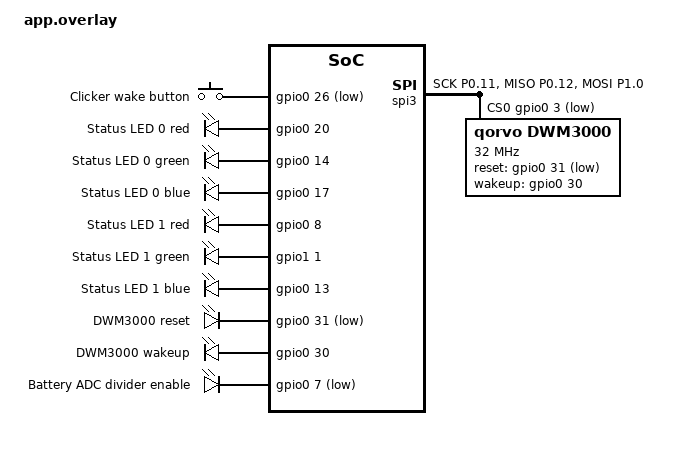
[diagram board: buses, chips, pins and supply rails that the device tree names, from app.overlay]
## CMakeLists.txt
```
cmake_minimum_required(VERSION 3.20.0)

set(IMEC_APP_DIR "${CMAKE_CURRENT_LIST_DIR}/../app")
list(APPEND DTS_ROOT "${IMEC_APP_DIR}")

set(POWER_PROFILE_MODE "clicker_sleep" CACHE STRING
    "Power profile mode: clicker_sleep, clicker_systemoff, clicker_systemoff_nowake, anchor_sleep, anchor_low_duty, clicker_click, or responder")
set_property(CACHE POWER_PROFILE_MODE PROPERTY STRINGS
    clicker_sleep clicker_systemoff clicker_systemoff_nowake anchor_sleep anchor_low_duty clicker_click responder)

set(POWER_PROFILE_CLICKER_ID "0x1111222233334444ull" CACHE STRING "Power profile clicker ID")
set(POWER_PROFILE_RESPONDER0_ID "0x5555666677778888ull" CACHE STRING "Power profile responder/anchor 0 ID")
set(POWER_PROFILE_RESPONDER1_ID "0x5555666677778889ull" CACHE STRING "Power profile responder/anchor 1 ID")
set(POWER_PROFILE_RESPONDER2_ID "0x555566667777888Aull" CACHE STRING "Power profile responder/anchor 2 ID")
set(POWER_PROFILE_RESPONDER3_ID "0x555566667777888Bull" CACHE STRING "Power profile responder/anchor 3 ID")
set(POWER_PROFILE_TARGET_COUNT "1u" CACHE STRING "Number of responder IDs to range during a click burst, 1..4")
set(POWER_PROFILE_NETWORK_ID "0x1A2B3C4Du" CACHE STRING "Power profile UWB network ID")
set(POWER_PROFILE_SESSION_ID "0x0000A11Eu" CACHE STRING "Power profile UWB session ID")
set(POWER_PROFILE_SESSION_NONCE "0x1020304050607080ull" CACHE STRING "Power profile UWB session nonce")
set(POWER_PROFILE_BOOT_SETTLE_MS "5000u" CACHE STRING "Quiet boot-settle time before measurement starts")
set(POWER_PROFILE_CLICK_PERIOD_MS "10000u" CACHE STRING "Period between click bursts")
set(POWER_PROFILE_CLICK_RX_TIMEOUT_MS "80u" CACHE STRING "Software timeout for clicker DS-TWR attempts")
set(POWER_PROFILE_CLICK_RX_TIMEOUT_UUS "60000u" CACHE STRING "Hardware RX timeout for clicker DS-TWR attempts")
set(POWER_PROFILE_INTER_TARGET_GAP_MS "0u" CACHE STRING "Delay between responders inside a click burst")
set(POWER_PROFILE_ANCHOR_SCAN_INTERVAL_MS "1000u" CACHE STRING "Low-duty anchor scan period")
set(POWER_PROFILE_ANCHOR_RX_WINDOW_MS "40u" CACHE STRING "Low-duty anchor UWB RX window")
set(POWER_PROFILE_RESPONDER_RX_WINDOW_MS "250u" CACHE STRING "Responder listen slice")
set(POWER_PROFILE_REPLY_DELAY_UUS "2750u" CACHE STRING "DS-TWR responder reply delay in UWB microseconds")
set(POWER_PROFILE_REPLY_TOLERANCE_US "2000u" CACHE STRING "DS-TWR reply timing tolerance")
set(POWER_PROFILE_LED_MARKERS "0" CACHE STRING "Set to 1 to mark active windows with LEDs; adds LED current")
set(POWER_PROFILE_DEBUG_RTT "0" CACHE STRING "Emit RTT/printk debug output from the power profile app")
set(POWER_PROFILE_CAPTURE_RSL "1" CACHE STRING "Capture RSL/CIR during click range attempts")
set(POWER_PROFILE_CLICKER_DIAG "1" CACHE STRING "Include clicker diagnostic frame in DS-TWR")
set(POWER_PROFILE_PHY_CHANNEL "5" CACHE STRING "DW3000 channel")
set(POWER_PROFILE_PHY_PREAMBLE_LENGTH "DWT_PLEN_4096" CACHE STRING "DW3000 preamble length")
set(POWER_PROFILE_PHY_RX_PAC "DWT_PAC32" CACHE STRING "DW3000 RX PAC")
set(POWER_PROFILE_PHY_TX_CODE "9" CACHE STRING "DW3000 TX preamble code")
set(POWER_PROFILE_PHY_RX_CODE "9" CACHE STRING "DW3000 RX preamble code")
set(POWER_PROFILE_PHY_SFD_TYPE "DWT_SFD_DW_8" CACHE STRING "DW3000 SFD type")
set(POWER_PROFILE_PHY_DATA_RATE "DWT_BR_850K" CACHE STRING "DW3000 data rate")
set(POWER_PROFILE_PHY_SFD_TIMEOUT "4073" CACHE STRING "DW3000 SFD timeout")
set(POWER_PROFILE_TX_PG_DELAY "0x34" CACHE STRING "DW3000 TX pulse generator delay")
set(POWER_PROFILE_TX_POWER "0xffffffffu" CACHE STRING "DW3000 TX power register")
set(POWER_PROFILE_TX_ANT_DLY "16385u" CACHE STRING "DW3000 TX antenna delay")
set(POWER_PROFILE_RX_ANT_DLY "16385u" CACHE STRING "DW3000 RX antenna delay")

if(POWER_PROFILE_MODE STREQUAL "clicker_sleep")
    set(POWER_PROFILE_DEVICE_ID "${POWER_PROFILE_CLICKER_ID}")
    set(POWER_PROFILE_DEVICE_ROLE "1")
    set(POWER_PROFILE_MODE_DEFINE "POWER_PROFILE_MODE_CLICKER_SLEEP=1")
elseif(POWER_PROFILE_MODE STREQUAL "clicker_systemoff")
    set(POWER_PROFILE_DEVICE_ID "${POWER_PROFILE_CLICKER_ID}")
    set(POWER_PROFILE_DEVICE_ROLE "1")
    set(POWER_PROFILE_MODE_DEFINE "POWER_PROFILE_MODE_CLICKER_SYSTEMOFF=1")
elseif(POWER_PROFILE_MODE STREQUAL "clicker_systemoff_nowake")
    set(POWER_PROFILE_DEVICE_ID "${POWER_PROFILE_CLICKER_ID}")
    set(POWER_PROFILE_DEVICE_ROLE "1")
    set(POWER_PROFILE_MODE_DEFINE "POWER_PROFILE_MODE_CLICKER_SYSTEMOFF_NOWAKE=1")
elseif(POWER_PROFILE_MODE STREQUAL "anchor_sleep")
    set(POWER_PROFILE_DEVICE_ID "${POWER_PROFILE_RESPONDER0_ID}")
    set(POWER_PROFILE_DEVICE_ROLE "2")
    set(POWER_PROFILE_MODE_DEFINE "POWER_PROFILE_MODE_ANCHOR_SLEEP=1")
elseif(POWER_PROFILE_MODE STREQUAL "anchor_low_duty")
    set(POWER_PROFILE_DEVICE_ID "${POWER_PROFILE_RESPONDER0_ID}")
    set(POWER_PROFILE_DEVICE_ROLE "2")
    set(POWER_PROFILE_MODE_DEFINE "POWER_PROFILE_MODE_ANCHOR_LOW_DUTY=1")
elseif(POWER_PROFILE_MODE STREQUAL "clicker_click")
    set(POWER_PROFILE_DEVICE_ID "${POWER_PROFILE_CLICKER_ID}")
    set(POWER_PROFILE_DEVICE_ROLE "1")
    set(POWER_PROFILE_MODE_DEFINE "POWER_PROFILE_MODE_CLICKER_CLICK=1")
elseif(POWER_PROFILE_MODE STREQUAL "responder")
    set(POWER_PROFILE_DEVICE_ID "${POWER_PROFILE_RESPONDER0_ID}")
    set(POWER_PROFILE_DEVICE_ROLE "2")
    set(POWER_PROFILE_MODE_DEFINE "POWER_PROFILE_MODE_RESPONDER=1")
else()
    message(FATAL_ERROR "Unsupported POWER_PROFILE_MODE=${POWER_PROFILE_MODE}")
endif()

find_package(Zephyr REQUIRED HINTS $ENV{ZEPHYR_BASE})
project(imec_power_profile_test)
include("${CMAKE_CURRENT_LIST_DIR}/../cmake/dwm3000_sdk.cmake")
imec_resolve_dwm3000_sdk(DWM3000_SDK_DIR)

target_sources(app PRIVATE
    src/main.c
    "${IMEC_APP_DIR}/src/dwm3000_driver.c"
    "${IMEC_APP_DIR}/src/dwm3000_port.c"
    "${IMEC_APP_DIR}/src/dwm3000_sdk_port.c"
    "${DWM3000_SDK_DIR}/decadriver/deca_device.c"
    ../src/debug_log.c
    ../src/protocol.c
    ../src/dwm3000_timing.c
    ../src/uwb.c
    ../src/uwb_session.c
)

target_include_directories(app PRIVATE
    ../include
    "${IMEC_APP_DIR}/src"
    "${DWM3000_SDK_DIR}/decadriver"
)

target_compile_definitions(app PRIVATE
    ${POWER_PROFILE_MODE_DEFINE}
    DEVICE_ID=${POWER_PROFILE_DEVICE_ID}
    DEVICE_ROLE=${POWER_PROFILE_DEVICE_ROLE}
    POWER_PROFILE_CLICKER_ID=${POWER_PROFILE_CLICKER_ID}
    POWER_PROFILE_RESPONDER0_ID=${POWER_PROFILE_RESPONDER0_ID}
    POWER_PROFILE_RESPONDER1_ID=${POWER_PROFILE_RESPONDER1_ID}
    POWER_PROFILE_RESPONDER2_ID=${POWER_PROFILE_RESPONDER2_ID}
    POWER_PROFILE_RESPONDER3_ID=${POWER_PROFILE_RESPONDER3_ID}
    POWER_PROFILE_TARGET_COUNT=${POWER_PROFILE_TARGET_COUNT}
    POWER_PROFILE_NETWORK_ID=${POWER_PROFILE_NETWORK_ID}
    POWER_PROFILE_SESSION_ID=${POWER_PROFILE_SESSION_ID}
    POWER_PROFILE_SESSION_NONCE=${POWER_PROFILE_SESSION_NONCE}
    POWER_PROFILE_BOOT_SETTLE_MS=${POWER_PROFILE_BOOT_SETTLE_MS}
    POWER_PROFILE_CLICK_PERIOD_MS=${POWER_PROFILE_CLICK_PERIOD_MS}
    POWER_PROFILE_CLICK_RX_TIMEOUT_MS=${POWER_PROFILE_CLICK_RX_TIMEOUT_MS}
    POWER_PROFILE_CLICK_RX_TIMEOUT_UUS=${POWER_PROFILE_CLICK_RX_TIMEOUT_UUS}
    POWER_PROFILE_INTER_TARGET_GAP_MS=${POWER_PROFILE_INTER_TARGET_GAP_MS}
    POWER_PROFILE_ANCHOR_SCAN_INTERVAL_MS=${POWER_PROFILE_ANCHOR_SCAN_INTERVAL_MS}
    POWER_PROFILE_ANCHOR_RX_WINDOW_MS=${POWER_PROFILE_ANCHOR_RX_WINDOW_MS}
    POWER_PROFILE_RESPONDER_RX_WINDOW_MS=${POWER_PROFILE_RESPONDER_RX_WINDOW_MS}
    POWER_PROFILE_LED_MARKERS=${POWER_PROFILE_LED_MARKERS}
    POWER_PROFILE_DEBUG_RTT=${POWER_PROFILE_DEBUG_RTT}
    POWER_PROFILE_CAPTURE_RSL=${POWER_PROFILE_CAPTURE_RSL}
    DWM3000_DS_TWR_REPLY_DLY_UUS=${POWER_PROFILE_REPLY_DELAY_UUS}
    DWM3000_POLL_TX_TO_RESP_RX_DLY_UUS=0u
    DWM3000_RESP_TX_TO_FINAL_RX_DLY_UUS=0u
    DWM3000_RESP_RX_TIMEOUT_UUS=${POWER_PROFILE_CLICK_RX_TIMEOUT_UUS}
    DWM3000_FINAL_RX_TIMEOUT_UUS=${POWER_PROFILE_CLICK_RX_TIMEOUT_UUS}
    DWM3000_REPORT_RX_TIMEOUT_UUS=${POWER_PROFILE_CLICK_RX_TIMEOUT_UUS}
    DWM3000_RESP_RX_TIMEOUT_MS=${POWER_PROFILE_CLICK_RX_TIMEOUT_MS}
    DWM3000_FINAL_RX_TIMEOUT_MS=${POWER_PROFILE_CLICK_RX_TIMEOUT_MS}
    DWM3000_REPORT_RX_TIMEOUT_MS=${POWER_PROFILE_CLICK_RX_TIMEOUT_MS}
    DWM3000_REPLY_TIMING_TOLERANCE_US=${POWER_PROFILE_REPLY_TOLERANCE_US}
    DWM3000_CLICKER_DIAG_ENABLED=${POWER_PROFILE_CLICKER_DIAG}
    DWM3000_CIA_DIAG_MODE=DW_CIA_DIAG_LOG_ALL
    DWM3000_PHY_CHANNEL=${POWER_PROFILE_PHY_CHANNEL}
    DWM3000_PHY_PREAMBLE_LENGTH=${POWER_PROFILE_PHY_PREAMBLE_LENGTH}
    DWM3000_PHY_RX_PAC=${POWER_PROFILE_PHY_RX_PAC}
    DWM3000_PHY_TX_CODE=${POWER_PROFILE_PHY_TX_CODE}
    DWM3000_PHY_RX_CODE=${POWER_PROFILE_PHY_RX_CODE}
    DWM3000_PHY_SFD_TYPE=${POWER_PROFILE_PHY_SFD_TYPE}
    DWM3000_PHY_DATA_RATE=${POWER_PROFILE_PHY_DATA_RATE}
    DWM3000_PHY_SFD_TIMEOUT=${POWER_PROFILE_PHY_SFD_TIMEOUT}
    DWM3000_TX_PG_DELAY=${POWER_PROFILE_TX_PG_DELAY}
    DWM3000_TX_POWER=${POWER_PROFILE_TX_POWER}
    DWM3000_TX_ANT_DLY=${POWER_PROFILE_TX_ANT_DLY}
    DWM3000_RX_ANT_DLY=${POWER_PROFILE_RX_ANT_DLY}
    IMEC_BUILD_PRESET_NAME="power_profile_${POWER_PROFILE_MODE}"
    IMEC_GIT_VERSION="custom"
    IMEC_BUILD_TIMESTAMP="custom"
    IMEC_BOARD_TARGET="${BOARD}"
)
```

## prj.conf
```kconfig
CONFIG_GPIO=y
CONFIG_SPI=y
CONFIG_ENTROPY_GENERATOR=n

CONFIG_SERIAL=n
CONFIG_CONSOLE=n
CONFIG_UART_CONSOLE=n
CONFIG_USB_DEVICE_STACK=n
CONFIG_LOG=n
CONFIG_BOOT_BANNER=n
CONFIG_THREAD_NAME=n
CONFIG_ASSERT=n
CONFIG_REBOOT=n
CONFIG_POWEROFF=y

CONFIG_MAIN_STACK_SIZE=4096
CONFIG_SYSTEM_WORKQUEUE_STACK_SIZE=1024
```

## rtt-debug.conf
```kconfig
CONFIG_CONSOLE=y
CONFIG_RTT_CONSOLE=y
CONFIG_USE_SEGGER_RTT=y
CONFIG_PRINTK=y

CONFIG_SERIAL=n
CONFIG_UART_CONSOLE=n
CONFIG_USB_DEVICE_STACK=n
CONFIG_LOG=n
CONFIG_BOOT_BANNER=n
CONFIG_THREAD_NAME=n
CONFIG_ASSERT=n
```

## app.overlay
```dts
#include <zephyr/dt-bindings/gpio/gpio.h>
#include <zephyr/dt-bindings/pinctrl/nrf-pinctrl.h>

/ {
    aliases {
        /delete-property/ led0;
        /delete-property/ led1;
        /delete-property/ led2;
        /delete-property/ led3;
        /delete-property/ pwm-led0;
        /delete-property/ sw0;
        /delete-property/ sw1;
        /delete-property/ sw2;
        /delete-property/ sw3;
        /delete-property/ bootloader-led0;
        /delete-property/ mcuboot-button0;
        /delete-property/ mcuboot-led0;

        click-button = &click_button;
        status0-red = &status0_red;
        status0-green = &status0_green;
        status0-blue = &status0_blue;
        status1-red = &status1_red;
        status1-green = &status1_green;
        status1-blue = &status1_blue;
        dwm3000 = &dwm3000;
        dwm3000-reset = &dwm3000_reset;
        dwm3000-wakeup = &dwm3000_wakeup;
        battery-adc-enable = &battery_adc_enable;
    };

    gpio_keys {
        compatible = "gpio-keys";

        click_button: click_button {
            gpios = <&gpio0 26 (GPIO_PULL_UP | GPIO_ACTIVE_LOW)>;
            label = "Clicker wake button";
        };
    };

    status_leds {
        compatible = "gpio-leds";

        status0_red: status0_red {
            gpios = <&gpio0 20 GPIO_ACTIVE_HIGH>;
            label = "Status LED 0 red";
        };

        status0_green: status0_green {
            gpios = <&gpio0 14 GPIO_ACTIVE_HIGH>;
            label = "Status LED 0 green";
        };

        status0_blue: status0_blue {
            gpios = <&gpio0 17 GPIO_ACTIVE_HIGH>;
            label = "Status LED 0 blue";
        };

        status1_red: status1_red {
            gpios = <&gpio0 8 GPIO_ACTIVE_HIGH>;
            label = "Status LED 1 red";
        };

        status1_green: status1_green {
            gpios = <&gpio1 1 GPIO_ACTIVE_HIGH>;
            label = "Status LED 1 green";
        };

        status1_blue: status1_blue {
            gpios = <&gpio0 13 GPIO_ACTIVE_HIGH>;
            label = "Status LED 1 blue";
        };
    };

    dwm3000_control {
        compatible = "gpio-leds";

        dwm3000_reset: dwm3000_reset {
            gpios = <&gpio0 31 GPIO_ACTIVE_LOW>;
            label = "DWM3000 reset";
        };

        dwm3000_wakeup: dwm3000_wakeup {
            gpios = <&gpio0 30 GPIO_ACTIVE_HIGH>;
            label = "DWM3000 wakeup";
        };
    };

    battery_control {
        compatible = "gpio-leds";

        battery_adc_enable: battery_adc_enable {
            gpios = <&gpio0 7 GPIO_ACTIVE_LOW>;
            label = "Battery ADC divider enable";
        };
    };
};

&uart0 {
    status = "disabled";
    /delete-property/ pinctrl-0;
    /delete-property/ pinctrl-1;
    /delete-property/ pinctrl-names;
};

&i2c0 {
    status = "disabled";
    /delete-property/ pinctrl-0;
    /delete-property/ pinctrl-1;
    /delete-property/ pinctrl-names;
};

&i2c1 {
    status = "disabled";
    /delete-property/ pinctrl-0;
    /delete-property/ pinctrl-1;
    /delete-property/ pinctrl-names;
};

&uart1 {
    status = "disabled";
    /delete-property/ pinctrl-0;
    /delete-property/ pinctrl-1;
    /delete-property/ pinctrl-names;
};

&spi0 {
    status = "disabled";
    /delete-property/ pinctrl-0;
    /delete-property/ pinctrl-1;
    /delete-property/ pinctrl-names;
};

&spi1 {
    status = "disabled";
    /delete-property/ pinctrl-0;
    /delete-property/ pinctrl-1;
    /delete-property/ pinctrl-names;
};

&pwm0 {
    status = "disabled";
    /delete-property/ pinctrl-0;
    /delete-property/ pinctrl-1;
    /delete-property/ pinctrl-names;
};

&ieee802154 {
    status = "disabled";
};

&zephyr_udc0 {
    status = "disabled";
};

&adc {
    status = "disabled";
};

&led0 {
    status = "disabled";
};

&led1 {
    status = "disabled";
};

&led2 {
    status = "disabled";
};

&led3 {
    status = "disabled";
};

&pwm_led0 {
    status = "disabled";
};

&button0 {
    status = "disabled";
};

&button1 {
    status = "disabled";
};

&button2 {
    status = "disabled";
};

&button3 {
    status = "disabled";
};

&pinctrl {
    spi3_default: spi3_default {
        group1 {
            psels = <NRF_PSEL(SPIM_SCK, 0, 11)>,
                    <NRF_PSEL(SPIM_MISO, 0, 12)>,
                    <NRF_PSEL(SPIM_MOSI, 1, 0)>;
        };
    };

    spi3_sleep: spi3_sleep {
        group1 {
            psels = <NRF_PSEL(SPIM_SCK, 0, 11)>,
                    <NRF_PSEL(SPIM_MISO, 0, 12)>,
                    <NRF_PSEL(SPIM_MOSI, 1, 0)>;
            low-power-enable;
        };
    };
};

&spi3 {
    compatible = "nordic,nrf-spim";
    status = "okay";
    pinctrl-0 = <&spi3_default>;
    pinctrl-1 = <&spi3_sleep>;
    pinctrl-names = "default", "sleep";
    cs-gpios = <&gpio0 3 GPIO_ACTIVE_LOW>;

    dwm3000: dwm3000@0 {
        compatible = "qorvo,dwm3000";
        reg = <0>;
        spi-max-frequency = <32000000>;
        slow-spi-frequency = <2000000>;
        fast-spi-frequency = <32000000>;
        reset-gpios = <&gpio0 31 GPIO_ACTIVE_LOW>;
        wakeup-gpios = <&gpio0 30 GPIO_ACTIVE_HIGH>;
    };
};
```

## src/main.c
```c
#include "dwm3000_driver.h"
#include "dwm3000_port.h"
#include "uwb.h"
#include "uwb_session.h"

#include <hal/nrf_gpio.h>
#include <hal/nrf_power.h>

#include <zephyr/device.h>
#include <zephyr/devicetree.h>
#include <zephyr/drivers/gpio.h>
#include <zephyr/kernel.h>
#include <zephyr/sys/poweroff.h>
#include <zephyr/sys/printk.h>
#include <zephyr/sys/util.h>

#include <errno.h>
#include <stdbool.h>
#include <stddef.h>
#include <stdint.h>
#include <string.h>

#define STATUS0_RED_NODE DT_ALIAS(status0_red)
#define STATUS0_GREEN_NODE DT_ALIAS(status0_green)
#define STATUS0_BLUE_NODE DT_ALIAS(status0_blue)
#define STATUS1_RED_NODE DT_ALIAS(status1_red)
#define STATUS1_GREEN_NODE DT_ALIAS(status1_green)
#define STATUS1_BLUE_NODE DT_ALIAS(status1_blue)
#define BATTERY_ADC_ENABLE_NODE DT_ALIAS(battery_adc_enable)
#define CLICK_BUTTON_NODE DT_ALIAS(click_button)

#define SPI3_CS_PIN 3u
#define SPI3_SCK_PIN 11u
#define SPI3_MISO_PIN 12u
#define SPI3_MOSI_PIN 0u
#define DWM3000_WAKE_PIN 30u
#define DWM3000_RESET_PIN 31u
#define CLICK_BUTTON_PIN 26u

#ifndef POWER_PROFILE_BOOT_SETTLE_MS
#define POWER_PROFILE_BOOT_SETTLE_MS 5000u
#endif
#ifndef POWER_PROFILE_CLICK_PERIOD_MS
#define POWER_PROFILE_CLICK_PERIOD_MS 10000u
#endif
#ifndef POWER_PROFILE_CLICK_RX_TIMEOUT_MS
#define POWER_PROFILE_CLICK_RX_TIMEOUT_MS 80u
#endif
#ifndef POWER_PROFILE_INTER_TARGET_GAP_MS
#define POWER_PROFILE_INTER_TARGET_GAP_MS 0u
#endif
#ifndef POWER_PROFILE_ANCHOR_SCAN_INTERVAL_MS
#define POWER_PROFILE_ANCHOR_SCAN_INTERVAL_MS 1000u
#endif
#ifndef POWER_PROFILE_ANCHOR_RX_WINDOW_MS
#define POWER_PROFILE_ANCHOR_RX_WINDOW_MS 40u
#endif
#ifndef POWER_PROFILE_RESPONDER_RX_WINDOW_MS
#define POWER_PROFILE_RESPONDER_RX_WINDOW_MS 250u
#endif
#ifndef POWER_PROFILE_LED_MARKERS
#define POWER_PROFILE_LED_MARKERS 0
#endif
#ifndef POWER_PROFILE_DEBUG_RTT
#define POWER_PROFILE_DEBUG_RTT 0
#endif
#ifndef POWER_PROFILE_CAPTURE_RSL
#define POWER_PROFILE_CAPTURE_RSL 1
#endif
#ifndef POWER_PROFILE_TARGET_COUNT
#define POWER_PROFILE_TARGET_COUNT 1u
#endif
#ifndef POWER_PROFILE_WAKE_TX_TIMEOUT_MS
#define POWER_PROFILE_WAKE_TX_TIMEOUT_MS 80u
#endif
#ifndef POWER_PROFILE_BUTTON_RELEASE_TIMEOUT_MS
#define POWER_PROFILE_BUTTON_RELEASE_TIMEOUT_MS 3000u
#endif
#ifndef POWER_PROFILE_BUTTON_RELEASE_STABLE_MS
#define POWER_PROFILE_BUTTON_RELEASE_STABLE_MS 50u
#endif
#ifndef POWER_PROFILE_BUTTON_RELEASE_POLL_MS
#define POWER_PROFILE_BUTTON_RELEASE_POLL_MS 5u
#endif

#define POWER_PROFILE_RANGE_FLAGS FLAG_DIAGNOSTIC
#define POWER_PROFILE_FRAME_BUF_LEN 128u
#define POWER_PROFILE_WAKE_CLAIM_TIMING_MS 25u
#define POWER_PROFILE_WAKE_CLAIM_DURATION_MS 100u

#if POWER_PROFILE_DEBUG_RTT != 0
#define PROFILE_DBG(...) printk(__VA_ARGS__)
#else
#define PROFILE_DBG(...) do { } while (0)
#endif

BUILD_ASSERT(POWER_PROFILE_TARGET_COUNT >= 1u,
             "POWER_PROFILE_TARGET_COUNT must be at least 1");
BUILD_ASSERT(POWER_PROFILE_TARGET_COUNT <= 4u,
             "POWER_PROFILE_TARGET_COUNT must be 1..4");

static const struct gpio_dt_spec status_leds[] = {
    GPIO_DT_SPEC_GET(STATUS0_RED_NODE, gpios),
    GPIO_DT_SPEC_GET(STATUS0_GREEN_NODE, gpios),
    GPIO_DT_SPEC_GET(STATUS0_BLUE_NODE, gpios),
    GPIO_DT_SPEC_GET(STATUS1_RED_NODE, gpios),
    GPIO_DT_SPEC_GET(STATUS1_GREEN_NODE, gpios),
    GPIO_DT_SPEC_GET(STATUS1_BLUE_NODE, gpios),
};
#if defined(POWER_PROFILE_MODE_ANCHOR_LOW_DUTY) || \
    defined(POWER_PROFILE_MODE_CLICKER_CLICK) || \
    defined(POWER_PROFILE_MODE_RESPONDER)
static const struct gpio_dt_spec marker_led =
    GPIO_DT_SPEC_GET(STATUS0_BLUE_NODE, gpios);
#endif
static const struct gpio_dt_spec error_led =
    GPIO_DT_SPEC_GET(STATUS0_RED_NODE, gpios);
static const struct gpio_dt_spec battery_adc_enable =
    GPIO_DT_SPEC_GET(BATTERY_ADC_ENABLE_NODE, gpios);
static const struct device *const gpio0 = DEVICE_DT_GET(DT_NODELABEL(gpio0));
static const struct device *const gpio1 = DEVICE_DT_GET(DT_NODELABEL(gpio1));

#if defined(POWER_PROFILE_MODE_CLICKER_SYSTEMOFF)
static const struct gpio_dt_spec click_button =
    GPIO_DT_SPEC_GET(CLICK_BUTTON_NODE, gpios);
#endif

#if defined(POWER_PROFILE_MODE_CLICKER_CLICK) || defined(POWER_PROFILE_MODE_RESPONDER)
static uint8_t seq;
#endif

static void sleep_ms(uint32_t ms)
{
    k_sleep(K_MSEC(ms));
}

static void sleep_forever(void)
{
    while (true) {
        k_sleep(K_FOREVER);
    }
}

static bool reset_reason_was_systemoff(void)
{
#if NRF_POWER_HAS_RESETREAS
    uint32_t reset_reason = nrf_power_resetreas_get(NRF_POWER);

    if (reset_reason != 0u) {
        nrf_power_resetreas_clear(NRF_POWER, reset_reason);
    }
    return (reset_reason & NRF_POWER_RESETREAS_OFF_MASK) != 0u;
#else
    return false;
#endif
}

static void set_output_if_ready(const struct gpio_dt_spec *gpio, bool active)
{
    if (gpio_is_ready_dt(gpio)) {
        (void)gpio_pin_set_dt(gpio, active ? 1 : 0);
    }
}

#if defined(POWER_PROFILE_MODE_ANCHOR_LOW_DUTY) || \
    defined(POWER_PROFILE_MODE_CLICKER_CLICK) || \
    defined(POWER_PROFILE_MODE_RESPONDER)
static void marker_set(bool active)
{
    if (POWER_PROFILE_LED_MARKERS != 0) {
        set_output_if_ready(&marker_led, active);
    } else {
        ARG_UNUSED(active);
    }
}
#endif

static void error_halt(void)
{
    if (POWER_PROFILE_LED_MARKERS != 0) {
        set_output_if_ready(&error_led, true);
    }
    sleep_forever();
}

static void configure_quiet_gpios(void)
{
    for (size_t i = 0u; i < ARRAY_SIZE(status_leds); ++i) {
        if (gpio_is_ready_dt(&status_leds[i])) {
            (void)gpio_pin_configure_dt(&status_leds[i], GPIO_OUTPUT_INACTIVE);
        }
    }

    if (gpio_is_ready_dt(&battery_adc_enable)) {
        (void)gpio_pin_configure(battery_adc_enable.port, battery_adc_enable.pin,
                                 GPIO_OUTPUT_HIGH);
        (void)gpio_pin_set_raw(battery_adc_enable.port,
                               battery_adc_enable.pin, 1);
    }
}

static void disconnect_pin(const struct device *port, gpio_pin_t pin)
{
    if (device_is_ready(port)) {
        (void)gpio_pin_configure(port, pin, GPIO_DISCONNECTED);
    }
}

static void park_for_systemoff(bool button_wake)
{
    for (size_t i = 0u; i < ARRAY_SIZE(status_leds); ++i) {
        if (gpio_is_ready_dt(&status_leds[i])) {
            (void)gpio_pin_configure_dt(&status_leds[i], GPIO_DISCONNECTED);
        }
    }

    if (gpio_is_ready_dt(&battery_adc_enable)) {
        (void)gpio_pin_configure(battery_adc_enable.port, battery_adc_enable.pin,
                                 GPIO_OUTPUT_HIGH);
        (void)gpio_pin_set_raw(battery_adc_enable.port,
                               battery_adc_enable.pin, 1);
    }

    disconnect_pin(gpio0, SPI3_CS_PIN);
    disconnect_pin(gpio0, SPI3_SCK_PIN);
    disconnect_pin(gpio0, SPI3_MISO_PIN);
    disconnect_pin(gpio1, SPI3_MOSI_PIN);
    disconnect_pin(gpio0, DWM3000_WAKE_PIN);
    disconnect_pin(gpio0, DWM3000_RESET_PIN);

#if defined(POWER_PROFILE_MODE_CLICKER_SYSTEMOFF)
    if (!button_wake && gpio_is_ready_dt(&click_button)) {
        (void)gpio_pin_configure_dt(&click_button, GPIO_DISCONNECTED);
    }
#else
    ARG_UNUSED(button_wake);
    disconnect_pin(gpio0, 26u);
#endif
}

static int radio_init_and_configure_range(void)
{
    uint32_t dev_id;
    int ret;

    ret = dwm3000_port_init();
    if (ret < 0) {
        PROFILE_DBG("radio_init port_init ret=%d\n", ret);
        return ret;
    }
    PROFILE_DBG("radio_init port_init ok\n");

    ret = dwm3000_port_wakeup();
    if (ret < 0) {
        PROFILE_DBG("radio_init wakeup ret=%d\n", ret);
        return ret;
    }
    PROFILE_DBG("radio_init wakeup ok\n");

    ret = dwm3000_port_hw_reset();
    if (ret < 0) {
        PROFILE_DBG("radio_init hw_reset ret=%d\n", ret);
        return ret;
    }
    PROFILE_DBG("radio_init hw_reset ok\n");

    ret = dwm3000_driver_probe(&dev_id);
    if (ret < 0) {
        PROFILE_DBG("radio_init probe ret=%d\n", ret);
        return ret;
    }
    PROFILE_DBG("radio_init probe ok dev_id=0x%08x\n", dev_id);

    ret = dwm3000_driver_configure_range_mode();
    PROFILE_DBG("radio_init range_mode ret=%d\n", ret);
    return ret;
}

#if !defined(POWER_PROFILE_MODE_RESPONDER)
static void standby_or_halt(void)
{
    if (dwm3000_driver_standby() < 0) {
        error_halt();
    }
}
#endif

#if defined(POWER_PROFILE_MODE_CLICKER_CLICK) || defined(POWER_PROFILE_MODE_RESPONDER)
static void fill_range_request(struct dwm3000_range_request *request,
                               uint64_t responder_id)
{
    memset(request, 0, sizeof(*request));
    request->initiator_id = POWER_PROFILE_CLICKER_ID;
    request->responder_id = responder_id;
    request->network_id = POWER_PROFILE_NETWORK_ID;
    request->session_nonce = POWER_PROFILE_SESSION_NONCE;
    request->responder_short_addr = uwb_session_short_addr_from_id(responder_id);
    request->session_id = POWER_PROFILE_SESSION_ID;
    request->seq = ++seq;
    request->round_index = 0u;
    request->flags = POWER_PROFILE_RANGE_FLAGS;
    request->timeout_ms = POWER_PROFILE_CLICK_RX_TIMEOUT_MS;
    request->capture_rsl = POWER_PROFILE_CAPTURE_RSL != 0;
}
#endif

#if defined(POWER_PROFILE_MODE_CLICKER_SLEEP)
static void run_clicker_sleep(void)
{
    if (radio_init_and_configure_range() < 0) {
        error_halt();
    }
    standby_or_halt();
    sleep_forever();
}
#endif

#if defined(POWER_PROFILE_MODE_CLICKER_SYSTEMOFF)
static bool click_button_is_pressed(void)
{
    int value = gpio_pin_get_raw(click_button.port, click_button.pin);

    return value == 0;
}

static void clear_click_button_latch(void)
{
#if defined(NRF_GPIO_LATCH_PRESENT)
    nrf_gpio_pin_latch_clear(NRF_GPIO_PIN_MAP(0u, CLICK_BUTTON_PIN));
#endif
}

static bool wait_for_click_button_release(void)
{
    int64_t deadline_ms = k_uptime_get() + POWER_PROFILE_BUTTON_RELEASE_TIMEOUT_MS;
    int64_t released_since_ms = -1;

    while (k_uptime_get() < deadline_ms) {
        int64_t now_ms = k_uptime_get();

        if (click_button_is_pressed()) {
            released_since_ms = -1;
        } else {
            if (released_since_ms < 0) {
                released_since_ms = now_ms;
            }
            if ((now_ms - released_since_ms) >=
                POWER_PROFILE_BUTTON_RELEASE_STABLE_MS) {
                return true;
            }
        }
        sleep_ms(POWER_PROFILE_BUTTON_RELEASE_POLL_MS);
    }
    return !click_button_is_pressed();
}

static void configure_click_button_input_or_poweroff(void)
{
    int ret;

    if (!gpio_is_ready_dt(&click_button)) {
        sys_poweroff();
    }

    ret = gpio_pin_configure_dt(&click_button, GPIO_INPUT);
    if (ret < 0) {
        sys_poweroff();
    }
    (void)gpio_pin_interrupt_configure(click_button.port,
                                       click_button.pin,
                                       GPIO_INT_DISABLE);
}

static void poweroff_with_click_wake(void)
{
    int ret;

    configure_click_button_input_or_poweroff();
    if (!wait_for_click_button_release()) {
        (void)gpio_pin_configure_dt(&click_button, GPIO_DISCONNECTED);
        sys_poweroff();
    }
    clear_click_button_latch();

    ret = gpio_pin_interrupt_configure(click_button.port,
                                       click_button.pin,
                                       GPIO_INT_LEVEL_LOW);
    if (ret < 0) {
        sys_poweroff();
    }

    sys_poweroff();
}

static int send_click_wake_frame(void)
{
    uint8_t frame[UWB_WAKE_CLAIM_LEN];
    struct uwb_wake_claim_frame claim = {0};
    size_t frame_len = 0u;
    uint32_t event_id = k_uptime_get_32();
    uint64_t nonce;

    if (event_id == 0u) {
        event_id = 1u;
    }
    nonce = POWER_PROFILE_SESSION_NONCE ^
            ((uint64_t)event_id << 32) ^
            POWER_PROFILE_CLICKER_ID;
    if (nonce == 0u) {
        nonce = POWER_PROFILE_SESSION_NONCE;
    }

    claim.network_id = POWER_PROFILE_NETWORK_ID;
    claim.clicker_id = POWER_PROFILE_CLICKER_ID;
    claim.click_event_id = event_id;
    claim.attempt_index = 1u;
    claim.priority_id = POWER_PROFILE_CLICKER_ID;
    claim.wake_channel = UWB_CHANNEL_WAKE_CONTACT;
    claim.ranging_channel = UWB_CHANNEL_WAKE_CONTACT;
    claim.wake_train_ends_in_ms = POWER_PROFILE_WAKE_CLAIM_TIMING_MS;
    claim.discovery_starts_in_ms = POWER_PROFILE_WAKE_CLAIM_TIMING_MS;
    claim.claimed_duration_ms = POWER_PROFILE_WAKE_CLAIM_DURATION_MS;
    claim.min_anchor_count = UWB_NORMAL_CLICK_MIN_ANCHORS;
    claim.max_anchor_count = UWB_RANGE_SCHEDULE_MAX_ANCHORS;
    claim.nonce = nonce;
    claim.flags = POWER_PROFILE_RANGE_FLAGS;

    if (dwm3000_driver_configure_wake_mode() < 0) {
        return -EIO;
    }
    if (uwb_encode_wake_claim(&claim, frame, sizeof(frame), &frame_len) != PROTO_OK) {
        return -EINVAL;
    }
    if (dwm3000_driver_send_frame(frame, frame_len,
                                  POWER_PROFILE_WAKE_TX_TIMEOUT_MS) < 0) {
        return -EIO;
    }
    return 0;
}

static void run_clicker_systemoff(void)
{
    int ret;
    bool clicked = reset_reason_was_systemoff();

    configure_click_button_input_or_poweroff();
    if (clicked) {
        if (!wait_for_click_button_release()) {
            park_for_systemoff(false);
            sys_poweroff();
        }
        clear_click_button_latch();
    }

    if (!clicked) {
        sleep_ms(POWER_PROFILE_BOOT_SETTLE_MS);
    }
    ret = radio_init_and_configure_range();
    if (ret == 0 && clicked) {
        (void)send_click_wake_frame();
    }
    if (ret == 0) {
        (void)dwm3000_driver_standby();
    }
    park_for_systemoff(true);

    poweroff_with_click_wake();
}
#endif

#if defined(POWER_PROFILE_MODE_CLICKER_SYSTEMOFF_NOWAKE)
static void run_clicker_systemoff_nowake(void)
{
    sleep_ms(POWER_PROFILE_BOOT_SETTLE_MS);
    if (radio_init_and_configure_range() < 0) {
        error_halt();
    }
    standby_or_halt();
    park_for_systemoff(false);
    sys_poweroff();
}
#endif

#if defined(POWER_PROFILE_MODE_ANCHOR_SLEEP)
static void run_anchor_sleep(void)
{
    if (radio_init_and_configure_range() < 0) {
        error_halt();
    }
    standby_or_halt();
    sleep_forever();
}
#endif

#if defined(POWER_PROFILE_MODE_ANCHOR_LOW_DUTY)
static void run_anchor_low_duty(void)
{
    uint8_t frame[POWER_PROFILE_FRAME_BUF_LEN];
#if POWER_PROFILE_DEBUG_RTT != 0
    uint32_t scan_count = 0u;
#endif
    int ret;

    PROFILE_DBG("power_profile anchor_low_duty debug boot interval_ms=%u rx_window_ms=%u boot_settle_ms=%u\n",
                (unsigned int)POWER_PROFILE_ANCHOR_SCAN_INTERVAL_MS,
                (unsigned int)POWER_PROFILE_ANCHOR_RX_WINDOW_MS,
                (unsigned int)POWER_PROFILE_BOOT_SETTLE_MS);

    ret = radio_init_and_configure_range();
    if (ret < 0) {
        PROFILE_DBG("anchor_low_duty radio_init failed ret=%d\n", ret);
        error_halt();
    }
    ret = dwm3000_driver_configure_wake_mode();
    if (ret < 0) {
        PROFILE_DBG("anchor_low_duty initial wake_mode failed ret=%d\n", ret);
        error_halt();
    }
    PROFILE_DBG("anchor_low_duty initial wake_mode ok\n");
    standby_or_halt();
    PROFILE_DBG("anchor_low_duty radio standby ok\n");

    while (true) {
        int64_t start_ms = k_uptime_get();
        size_t frame_len = 0u;
        uint8_t quality = 0u;
        int8_t rsl_dbm = 0;
        int64_t elapsed_ms;
        uint32_t sleep_due_ms = 0u;
#if POWER_PROFILE_DEBUG_RTT != 0
        uint32_t scan = ++scan_count;
#endif

        PROFILE_DBG("anchor_low_duty scan=%u start_ms=%lld\n",
                    (unsigned int)scan, (long long)start_ms);
        marker_set(true);
        ret = dwm3000_driver_configure_wake_mode();
        if (ret < 0) {
            PROFILE_DBG("anchor_low_duty scan=%u wake_mode ret=%d\n",
                        (unsigned int)scan, ret);
            error_halt();
        }
        ret = dwm3000_driver_receive_frame(POWER_PROFILE_ANCHOR_RX_WINDOW_MS,
                                           frame, sizeof(frame), &frame_len,
                                           &quality, &rsl_dbm);
        standby_or_halt();
        marker_set(false);

        elapsed_ms = k_uptime_get() - start_ms;
        if (elapsed_ms < (int64_t)POWER_PROFILE_ANCHOR_SCAN_INTERVAL_MS) {
            sleep_due_ms =
                (uint32_t)((int64_t)POWER_PROFILE_ANCHOR_SCAN_INTERVAL_MS -
                           elapsed_ms);
        }
        PROFILE_DBG("anchor_low_duty scan=%u rx_ret=%d frame_len=%u quality=%u rsl_dbm=%d elapsed_ms=%lld sleep_ms=%u\n",
                    (unsigned int)scan, ret, (unsigned int)frame_len,
                    (unsigned int)quality, (int)rsl_dbm,
                    (long long)elapsed_ms, (unsigned int)sleep_due_ms);
        if (sleep_due_ms > 0u) {
            sleep_ms(sleep_due_ms);
        }
    }
}
#endif

#if defined(POWER_PROFILE_MODE_CLICKER_CLICK)
static const uint64_t responder_ids[] = {
    POWER_PROFILE_RESPONDER0_ID,
    POWER_PROFILE_RESPONDER1_ID,
    POWER_PROFILE_RESPONDER2_ID,
    POWER_PROFILE_RESPONDER3_ID,
};

static void run_clicker_click(void)
{
    if (radio_init_and_configure_range() < 0) {
        error_halt();
    }
    standby_or_halt();

    while (true) {
        int64_t start_ms = k_uptime_get();
        int64_t elapsed_ms;

        marker_set(true);
        if (dwm3000_driver_configure_range_mode() < 0) {
            error_halt();
        }
        for (size_t i = 0u; i < POWER_PROFILE_TARGET_COUNT; ++i) {
            struct dwm3000_range_request request;
            struct dwm3000_range_result result;

            fill_range_request(&request, responder_ids[i]);
            memset(&result, 0, sizeof(result));
            result.status = RANGE_RX_TIMEOUT;
            (void)dwm3000_driver_range_initiator(&request, &result);

            if (POWER_PROFILE_INTER_TARGET_GAP_MS > 0u &&
                i + 1u < POWER_PROFILE_TARGET_COUNT) {
                sleep_ms(POWER_PROFILE_INTER_TARGET_GAP_MS);
            }
        }
        standby_or_halt();
        marker_set(false);

        elapsed_ms = k_uptime_get() - start_ms;
        if (elapsed_ms < (int64_t)POWER_PROFILE_CLICK_PERIOD_MS) {
            sleep_ms((uint32_t)((int64_t)POWER_PROFILE_CLICK_PERIOD_MS -
                                elapsed_ms));
        }
    }
}
#endif

#if defined(POWER_PROFILE_MODE_RESPONDER)
static void run_responder(void)
{
    if (radio_init_and_configure_range() < 0) {
        error_halt();
    }

    while (true) {
        struct dwm3000_range_request expected;
        struct dwm3000_range_result result;

        fill_range_request(&expected, POWER_PROFILE_RESPONDER0_ID);
        expected.seq = 0u;
        expected.timeout_ms = POWER_PROFILE_RESPONDER_RX_WINDOW_MS;
        memset(&result, 0, sizeof(result));
        result.status = RANGE_RX_TIMEOUT;

        marker_set(true);
        (void)dwm3000_driver_responder_poll_expected(POWER_PROFILE_RESPONDER0_ID,
                                                     &expected,
                                                     POWER_PROFILE_RESPONDER_RX_WINDOW_MS,
                                                     &result);
        marker_set(false);
    }
}
#endif

int main(void)
{
    configure_quiet_gpios();
#if !defined(POWER_PROFILE_MODE_CLICKER_SYSTEMOFF) && \
    !defined(POWER_PROFILE_MODE_CLICKER_SYSTEMOFF_NOWAKE)
    sleep_ms(POWER_PROFILE_BOOT_SETTLE_MS);
#endif

#if defined(POWER_PROFILE_MODE_CLICKER_SLEEP)
    run_clicker_sleep();
#elif defined(POWER_PROFILE_MODE_CLICKER_SYSTEMOFF)
    run_clicker_systemoff();
#elif defined(POWER_PROFILE_MODE_CLICKER_SYSTEMOFF_NOWAKE)
    run_clicker_systemoff_nowake();
#elif defined(POWER_PROFILE_MODE_ANCHOR_SLEEP)
    run_anchor_sleep();
#elif defined(POWER_PROFILE_MODE_ANCHOR_LOW_DUTY)
    run_anchor_low_duty();
#elif defined(POWER_PROFILE_MODE_CLICKER_CLICK)
    run_clicker_click();
#elif defined(POWER_PROFILE_MODE_RESPONDER)
    run_responder();
#else
#error "A POWER_PROFILE_MODE_* definition is required"
#endif

    return 0;
}
```
